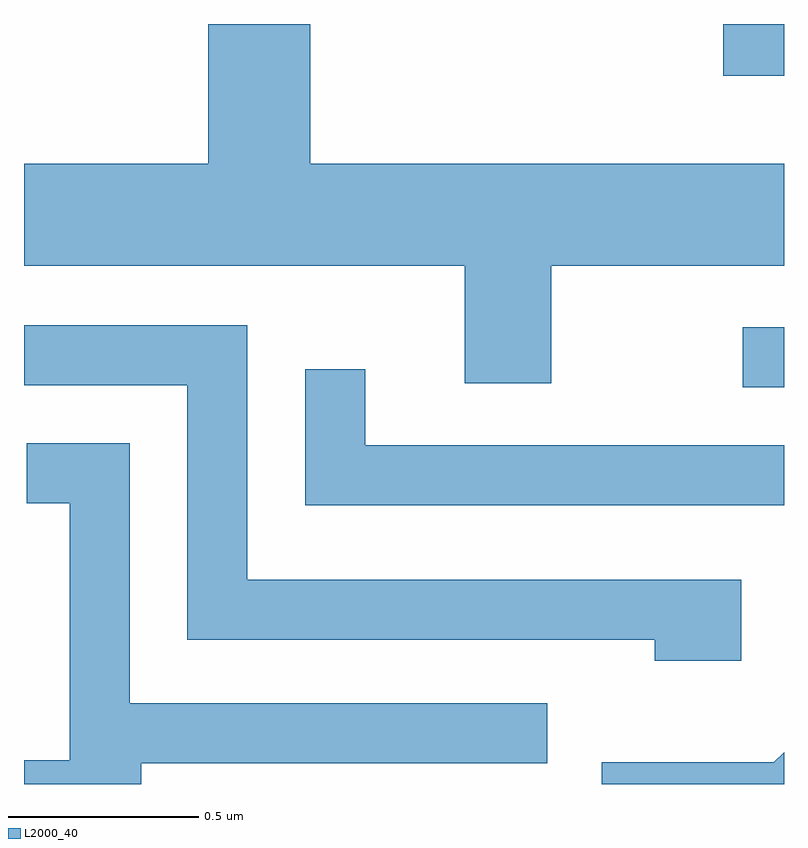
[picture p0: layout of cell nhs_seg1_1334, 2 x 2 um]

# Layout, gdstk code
import gdstk
lib = gdstk.Library(unit=1e-6, precision=1e-09)
def R(c, l, rs):  # rectangles x0, y0, x1, y1
    for r in rs: c.add(gdstk.rectangle(r[:2], r[2:], *l))
def P(c, l, *ps):  # polygons
    for p in ps: c.add(gdstk.Polygon(p, *l))
L2000_40 = (2000, 40)

nhs_seg1_1334 = lib.new_cell('nhs_seg1_1334')
R(nhs_seg1_1334, L2000_40, [(196.503,954.756,196.611,954.914), (196.451,955.576,196.611,955.712)])
P(nhs_seg1_1334, L2000_40, [(195.999,955.076),(196.611,955.076),(196.611,955.344),(195.364,955.344),(195.364,955.712),(195.096,955.712),(195.096,955.344),(194.611,955.344),(194.611,955.076),(195.771,955.076),(195.771,954.766),(195.999,954.766)],
  [(196.499,954.249),(195.199,954.249),(195.199,954.919),(194.611,954.919),(194.611,954.761),(195.041,954.761),(195.041,954.091),(196.271,954.091),(196.271,954.036),(196.499,954.036)],
  [(196.611,954.604),(195.509,954.604),(195.509,954.803),(195.351,954.803),(195.351,954.446),(196.611,954.446)],
  [(194.919,953.766),(195.988,953.766),(195.988,953.924),(194.889,953.924),(194.889,954.609),(194.618,954.609),(194.618,954.451),(194.731,954.451),(194.731,953.774),(194.611,953.774),(194.611,953.712),(194.919,953.712)],
  [(196.611,953.796),(196.584,953.769),(196.131,953.769),(196.131,953.712),(196.611,953.712)])

lib.write_gds('nhs_seg1_1334.gds')
